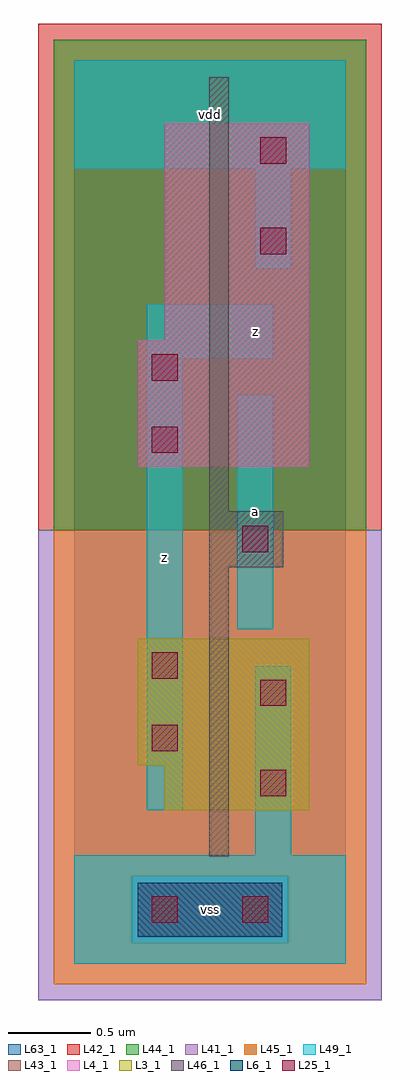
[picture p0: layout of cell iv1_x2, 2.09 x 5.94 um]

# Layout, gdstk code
import gdstk
lib = gdstk.Library(unit=1e-6, precision=1e-09)
def R(c, l, rs):  # rectangles x0, y0, x1, y1
    for r in rs: c.add(gdstk.rectangle(r[:2], r[2:], *l))
L3_1 = (3, 1)
L4_1 = (4, 1)
L6_1 = (6, 1)
L25_1 = (25, 1)
L41_1 = (41, 1)
L42_1 = (42, 1)
L43_1 = (43, 1)
L44_1 = (44, 1)
L45_1 = (45, 1)
L46_1 = (46, 1)
L49_1 = (49, 1)
L63_1 = (63, 1)

iv1_x2 = lib.new_cell('iv1_x2')
R(iv1_x2, L3_1, [(0.55,0.935,1.43,1.21), (0.385,1.21,1.43,1.98)])
R(iv1_x2, L4_1, [(0.385,3.025,1.43,3.795), (0.55,3.795,1.43,5.115)])
R(iv1_x2, L6_1, [(0.385,0.165,1.265,0.495)])
R(iv1_x2, L25_1, [(0.47,0.25,0.63,0.41), (1.02,0.25,1.18,0.41), (1.13,1.02,1.29,1.18), (0.47,1.295,0.63,1.455), (1.13,1.57,1.29,1.73), (0.47,1.735,0.63,1.895), (1.02,2.505,1.18,2.665), (0.47,3.11,0.63,3.27), (0.47,3.55,0.63,3.71), (1.13,4.32,1.29,4.48), (1.13,4.87,1.29,5.03)])
R(iv1_x2, L41_1, [(-0.22,-0.22,1.87,2.64)])
R(iv1_x2, L42_1, [(-0.22,2.64,1.87,5.72)])
R(iv1_x2, L43_1, [(0.385,0.165,1.265,0.495), (0.55,0.935,1.43,1.21), (0.385,1.21,1.43,1.98), (0.385,3.025,1.43,3.795), (0.55,3.795,1.43,5.115)])
R(iv1_x2, L44_1, [(0.345,0.125,1.305,0.535), (-0.125,2.64,1.775,5.625)])
R(iv1_x2, L45_1, [(-0.125,-0.125,1.775,0.125), (-0.125,0.125,0.345,0.535), (1.305,0.125,1.775,0.535), (-0.125,0.535,1.775,2.64)])
R(iv1_x2, L46_1, [(0.82,0.655,0.94,2.415), (0.82,2.415,1.27,2.755), (0.82,2.755,0.94,5.395)])
R(iv1_x2, L49_1, [(0,0,1.65,0.66), (1.1,0.66,1.32,1.815), (0.44,0.935,0.66,3.685), (0.99,2.035,1.21,3.465), (0.44,3.685,1.21,4.015), (1.1,4.235,1.32,4.84), (0,4.84,1.65,5.5)])
R(iv1_x2, L63_1, [(0,0,1.65,5.5)])
iv1_x2.add(gdstk.Label('z', (0.55,2.475), layer=49, texttype=1))
iv1_x2.add(gdstk.Label('vss', (0.825,0.33), layer=49, texttype=1))
iv1_x2.add(gdstk.Label('a', (1.1,2.75), layer=49, texttype=1))
iv1_x2.add(gdstk.Label('z', (1.1,3.85), layer=49, texttype=1))
iv1_x2.add(gdstk.Label('vdd', (0.825,5.17), layer=49, texttype=1))

lib.write_gds('iv1_x2.gds')
